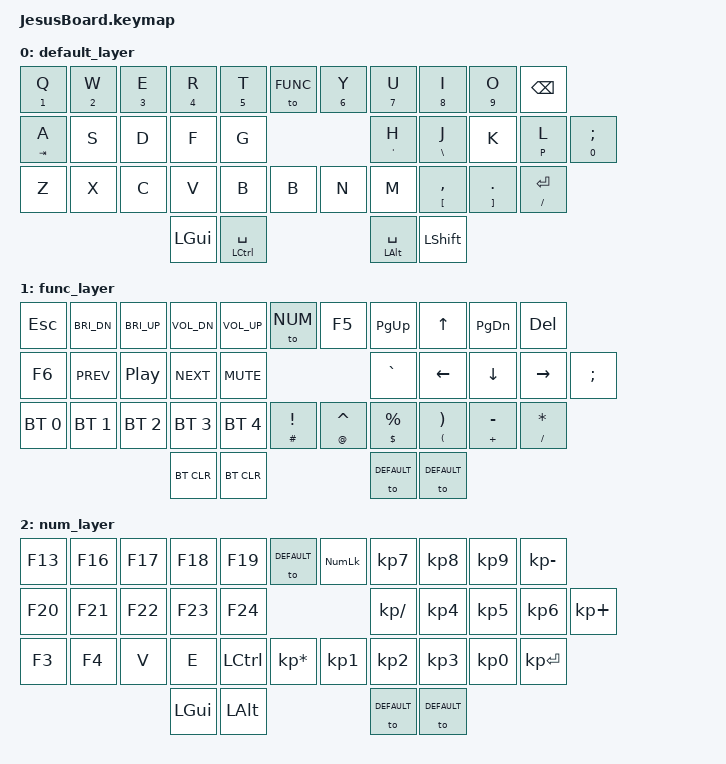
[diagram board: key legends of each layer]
/*
 * Copyright (c) 2020 The ZMK Contributors
 *
 * SPDX-License-Identifier: MIT
 */

#include <dt-bindings/zmk/ext_power.h>
#include <behaviors.dtsi>
#include <dt-bindings/zmk/keys.h>
#include <dt-bindings/zmk/bt.h>
#define DEFAULT 0

#define FUNC 1

#define NUM 2

&mt {
    tapping-term-ms = <250>;
    flavor = "tap-preferred";
 };

/ {
    keymap {
        compatible = "zmk,keymap";

        default_layer {
// --------------------------------------------------------------------------------------------------------------------------------------------------------------------
//   |    Q    |    W    |    E    |    R    |    T    |   Y   |                                  |    Y    |    U    |    I    |    O    |   P  |
//   |    A    |    S    |    D    |    F    |    G    |                                          |    H    |    J    |    K    |    L    |   ;  |
//   |    Z    |    X    |    C    |    V    |    B    |                                |  B      |    N    |    M    |     ,   |    .    |  ?   |  
//                                         |   GUI     | SPACE |                        |  SPACE  |   GUI   |  
            bindings = <
    &mt N1 Q   &mt N2 W   &mt N3 E   &mt N4 R    &mt N5 T     &to FUNC                       &mt N6 Y    &mt N7 U  &mt N8 I  &mt N9 O         &kp BSPC   
    &mt TAB A  &kp S      &kp D      &kp F       &kp G                                        &mt APOS H       &mt BSLH J     &kp K     &mt P L          &mt N0 SEMI 
    &kp Z      &kp X      &kp C      &kp V       &kp B                                        &kp B       &kp N     &kp M     &mt LBKT COMMA   &mt RBKT DOT    &mt SLASH ENTER
                                     &kp LGUI    &mt LCTRL SPACE                                    &mt LALT SPACE   &kp LSHIFT
            >;

            
        };
        
        func_layer {
// --------------------------------------------------------------------------------------------------------------------------------------------------------------------
//   |    Q    |    W    |    E    |    R    |    T    |   Y   |                                  |    Y    |    U    |    I    |    O    |   P  |
//   |    A    |    S    |    D    |    F    |    G    |                                          |    H    |    J    |    K    |    L    |   ;  |
//   |    Z    |    X    |    C    |    V    |    B    |                                |  B      |    N    |    M    |     ,   |    .    |  ?   |  
//                                         |   GUI     | SPACE |                        |  SPACE  |   GUI   |  
            bindings = <
    &kp ESC             &kp C_BRI_DN    &kp C_BRI_UP    &kp C_VOL_DN     &kp C_VOL_UP      &to NUM                &kp F5          &kp PG_UP      &kp UP           &kp PG_DN        &kp DEL
    &kp F6              &kp C_PREV      &kp C_PP        &kp C_NEXT       &kp C_MUTE                               &kp GRAVE       &kp LEFT       &kp DOWN         &kp RIGHT        &kp SEMI 
    &bt BT_SEL 0        &bt BT_SEL 1    &bt BT_SEL 2    &bt BT_SEL 3     &bt BT_SEL 4                             &mt HASH EXCL   &mt AT CARET   &mt DLLR PRCNT   &mt LPAR RPAR    &mt PLUS MINUS   &mt FSLH ASTRK
                                                        &bt BT_CLR       &bt BT_CLR                               &to DEFAULT     &to DEFAULT
            >;

            
        };
        
        num_layer {
// --------------------------------------------------------------------------------------------------------------------------------------------------------------------
//   |   F13   |   F14   |   F15   |   F16   |   F17   |   F18   |                        |    Y    |    U    |    I    |    O    |   P     |
//   |    A    |    S    |    D    |    F    |    G    |                                  |    H    |    J    |    K    |    L    |   ;     |
//   |    Z    |    X    |    C    |   F3    |   F4    |                                  |  B      |    N    |    M    |     ,   |    .    |  ?   |  
//                                           | Layer 0 | Layer 0 |                        |  SPACE  |   GUI   |  
            bindings = <
    &kp F13    &kp F16    &kp F17    &kp F18       &kp F19      &to DEFAULT                &kp KP_NUMLOCK   &kp KP_N7    &kp KP_N8    &kp KP_N9    &kp KP_MINUS   
    &kp F20    &kp F21    &kp F22    &kp F23       &kp F24                                 &kp KP_DIVIDE    &kp KP_N4    &kp KP_N5    &kp KP_N6    &kp KP_PLUS 
    &kp F3     &kp F4     &kp V      &kp E         &kp LCTRL                               &kp KP_MULTIPLY  &kp KP_N1    &kp KP_N2    &kp KP_N3    &kp KP_N0     &kp KP_ENTER
                                     &kp LGUI      &kp LALT                                &to DEFAULT      &to DEFAULT
            >;

            
        };
        
    };
};
